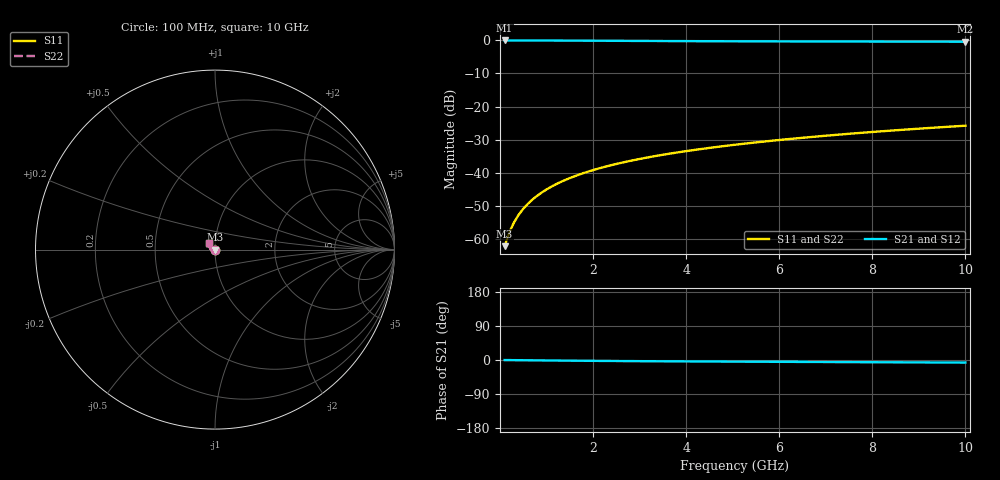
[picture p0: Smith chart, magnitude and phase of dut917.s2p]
! Touchstone file exported from HFSS 2024.1.0
!  File:  C:/UserFiles/LocalFiles/RDL_TSV_Batchsim/temp_TSV1_917_1779945831.aedt
!  Generated:  01:30:22 PM May 28, 2026
!  Design:  TSV1
!  Project:  temp_TSV1_917_1779945831
!  Setup:  Setup1
!  Solution:  Sweep
! Variables:
!  dtsv = 5.45um
!  hbump = 3um
!  htsv = 99.36um
!  lrdl = 252.1521522um
!  p = 40
!  p1 = 57.53um
!  t = 500um
!  trdl = 3um
!  wrdl = 24.89489489um
# GHz S MA R 50.000000
! Terminal data exported
! Port[1] = TSV22_T1
! Port[2] = TSV22_T2
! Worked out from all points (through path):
!   100 points, 100 MHz to 10 GHz, reference 50 ohm
!   highest |S21| = -0.01 dB at 100 MHz (marker M1); lowest = -0.4 dB at 10 GHz (marker M2)
!   lowest |S11| = -62.3 dB at 100 MHz (marker M3), VSWR 1.00, Z = 50.1 - j0.0573 ohm
!   |S11| at or under -10 dB: start of sweep to end of sweep
!   |S22| runs from -62.3 to -25.8 dB; largest |S21 - S12| = 5.2e-15
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0.1  0.0007716 -47.9  0.9994 -0.1  0.9994 -0.1  0.0007716 -47.9
! Gamma 0 0 0 0
! Port Impedance 50 0 50 0
0.2  0.001236 -69.2  0.9993 -0.2  0.9993 -0.2  0.001236 -69.2
0.3  0.001755 -80.1  0.9992 -0.4  0.9992 -0.4  0.001755 -80.1
0.4  0.002291 -87.2  0.999 -0.5  0.999 -0.5  0.002291 -87.2
0.5  0.002834 -92.7  0.9987 -0.6  0.9987 -0.6  0.002834 -92.7
0.6  0.00338 -97.3  0.9984 -0.7  0.9984 -0.7  0.00338 -97.3
0.7  0.003926 -101.3  0.9981 -0.9  0.9981 -0.9  0.003926 -101.3
0.9  0.005019 -108.5  0.9973 -1.1  0.9973 -1.1  0.005019 -108.5
1  0.005564 -111.8  0.9968 -1.2  0.9968 -1.2  0.005564 -111.8
1.2  0.00665 -117.9  0.9957 -1.4  0.9957 -1.4  0.00665 -117.9
1.5  0.008266 -126.4  0.9939 -1.7  0.9939 -1.7  0.008266 -126.4
1.8  0.009863 -134.3  0.9919 -2.0  0.9919 -2.0  0.009863 -134.3
2.1  0.01144 -141.6  0.9897 -2.3  0.9897 -2.3  0.01144 -141.6
2.5  0.01352 -150.6  0.9868 -2.7  0.9868 -2.7  0.01352 -150.6
2.9  0.01558 -158.8  0.9839 -3.0  0.9839 -3.0  0.01558 -158.8
3.4  0.01812 -168.0  0.9805 -3.3  0.9805 -3.3  0.01812 -168.0
4.2  0.02215 179.4  0.9755 -3.8  0.9755 -3.8  0.02215 179.4
5.1  0.02665 167.7  0.9709 -4.3  0.9709 -4.3  0.02665 167.7
5.9  0.03066 159.2  0.9676 -4.7  0.9676 -4.7  0.03066 159.2
6.7  0.03467 152.0  0.9648 -5.2  0.9648 -5.2  0.03467 152.0
8.4  0.04322 139.9  0.9604 -6.0  0.9604 -6.0  0.04322 139.9
10  0.05129 131.4  0.9573 -6.8  0.9573 -6.8  0.05129 131.4
